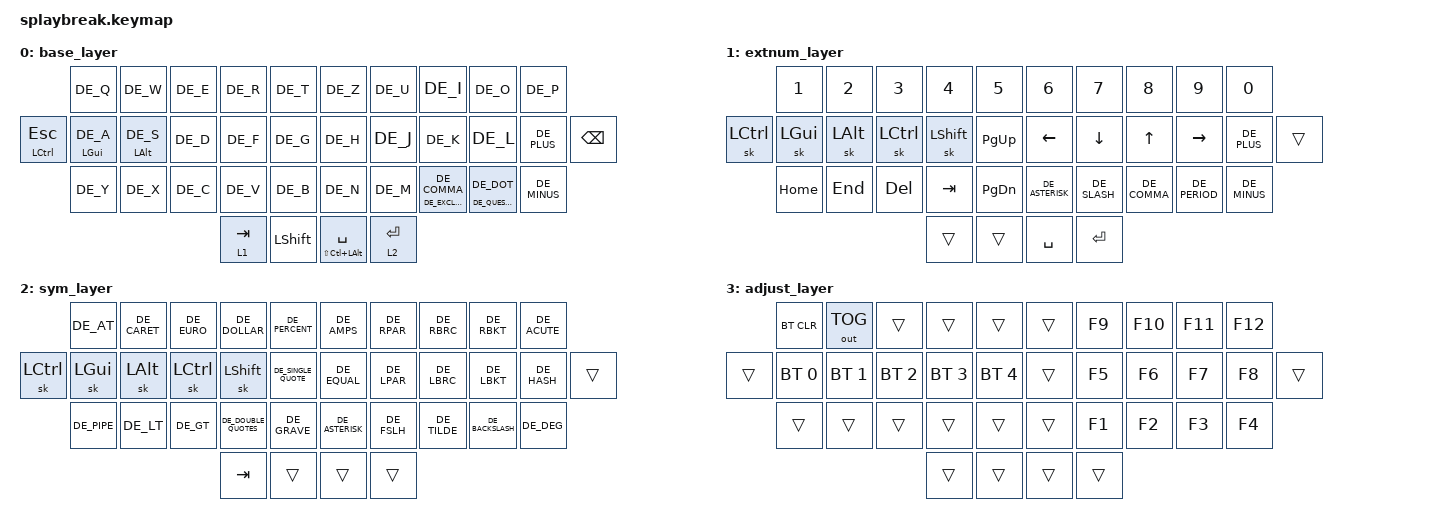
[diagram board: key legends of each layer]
#include "keys_de.h"
#include <behaviors.dtsi>
#include <dt-bindings/zmk/bt.h>
#include <dt-bindings/zmk/keys.h>
#include <dt-bindings/zmk/outputs.h>

&mt {
    quick-tap-ms = <100>;
    flavor = "tap-preferred";
    tapping-term-ms = <250>;
};

&lt { tapping-term-ms = <240>; };

/ {
    combos {
        compatible = "zmk,combos";

        ae {
            bindings = <&kp DE_A_UMLAUT>;
            key-positions = <11 2>;
        };

        ue {
            bindings = <&kp DE_U_UMLAUT>;
            key-positions = <2 6>;
        };

        oe {
            bindings = <&kp DE_O_UMLAUT>;
            key-positions = <2 8>;
        };

        adjust {
            bindings = <&mo 3>;
            key-positions = <32 35>;
        };

        sz {
            bindings = <&kp DE_ESZETT>;
            key-positions = <12 5>;
        };
    };

    behaviors {
        hrm: hrm {
            compatible = "zmk,behavior-hold-tap";
            label = "HRM";
            bindings = <&kp>, <&kp>;

            #binding-cells = <2>;
            tapping-term-ms = <300>;
            flavor = "tap-preferred";
            quick-tap-ms = <150>;
        };

        shrm: shrm {
            compatible = "zmk,behavior-hold-tap";
            label = "SHRM";
            bindings = <&sk>, <&kp>;

            #binding-cells = <2>;
            tapping-term-ms = <300>;
            quick-tap-ms = <100>;
            flavor = "tap-preferred";
        };

        mto: mto {
            compatible = "zmk,behavior-hold-tap";
            label = "MTO";
            bindings = <&kp>, <&to>;

            #binding-cells = <2>;
            quick-tap-ms = <100>;
            tapping-term-ms = <300>;
        };
    };

    keymap {
        compatible = "zmk,keymap";

        base_layer {
            bindings = <
                      &kp DE_Q         &kp DE_W         &kp DE_E  &kp DE_R   &kp DE_T    &kp DE_Z                     &kp DE_U     &kp DE_I                     &kp DE_O                &kp DE_P
&mt LEFT_CONTROL ESC  &shrm LGUI DE_A  &shrm LALT DE_S  &kp DE_D  &kp DE_F   &kp DE_G    &kp DE_H                     &kp DE_J     &kp DE_K                     &kp DE_L                &kp DE_PLUS   &kp BACKSPACE
                      &kp DE_Y         &kp DE_X         &kp DE_C  &kp DE_V   &kp DE_B    &kp DE_N                     &kp DE_M     &mt DE_EXCLAMATION DE_COMMA  &mt DE_QUESTION DE_DOT  &kp DE_MINUS
                                                                  &lt 1 TAB  &kp LSHIFT  &hrm LS(LC(LEFT_ALT)) SPACE  &lt 2 ENTER
            >;
        };

        extnum_layer {
            bindings = <
                  &kp N1    &kp N2    &kp N3      &kp N4     &kp N5         &kp N6           &kp N7        &kp N8        &kp N9           &kp N0
&sk LEFT_CONTROL  &sk LGUI  &sk LALT  &sk LCTRL   &sk LSHFT  &kp PAGE_UP    &kp LEFT         &kp DOWN      &kp UP        &kp RIGHT_ARROW  &kp DE_PLUS   &trans
                  &kp HOME  &kp END   &kp DELETE  &kp TAB    &kp PAGE_DOWN  &kp DE_ASTERISK  &kp DE_SLASH  &kp DE_COMMA  &kp DE_PERIOD    &kp DE_MINUS
                                                  &trans     &trans         &kp SPACE        &kp ENTER
            >;
        };

        sym_layer {
            bindings = <
           &kp DE_AT    &kp DE_CARET  &kp DE_EURO  &kp DE_DOLLAR         &kp DE_PERCENT       &kp DE_AMPS      &kp DE_RPAR  &kp DE_RBRC   &kp DE_RBKT       &kp DE_ACUTE
&sk LCTRL  &sk LGUI     &sk LALT      &sk LCTRL    &sk LSHFT             &kp DE_SINGLE_QUOTE  &kp DE_EQUAL     &kp DE_LPAR  &kp DE_LBRC   &kp DE_LBKT       &kp DE_HASH   &trans
           &kp DE_PIPE  &kp DE_LT     &kp DE_GT    &kp DE_DOUBLE_QUOTES  &kp DE_GRAVE         &kp DE_ASTERISK  &kp DE_FSLH  &kp DE_TILDE  &kp DE_BACKSLASH  &kp DE_DEG
                                                   &kp TAB               &trans               &trans           &trans
            >;
        };

        adjust_layer {
            bindings = <
        &bt BT_CLR    &out OUT_TOG  &trans        &trans        &trans        &trans  &kp F9  &kp F10  &kp F11  &kp F12
&trans  &bt BT_SEL 0  &bt BT_SEL 1  &bt BT_SEL 2  &bt BT_SEL 3  &bt BT_SEL 4  &trans  &kp F5  &kp F6   &kp F7   &kp F8   &trans
        &trans        &trans        &trans        &trans        &trans        &trans  &kp F1  &kp F2   &kp F3   &kp F4
                                                  &trans        &trans        &trans  &trans
            >;
        };
    };
};
